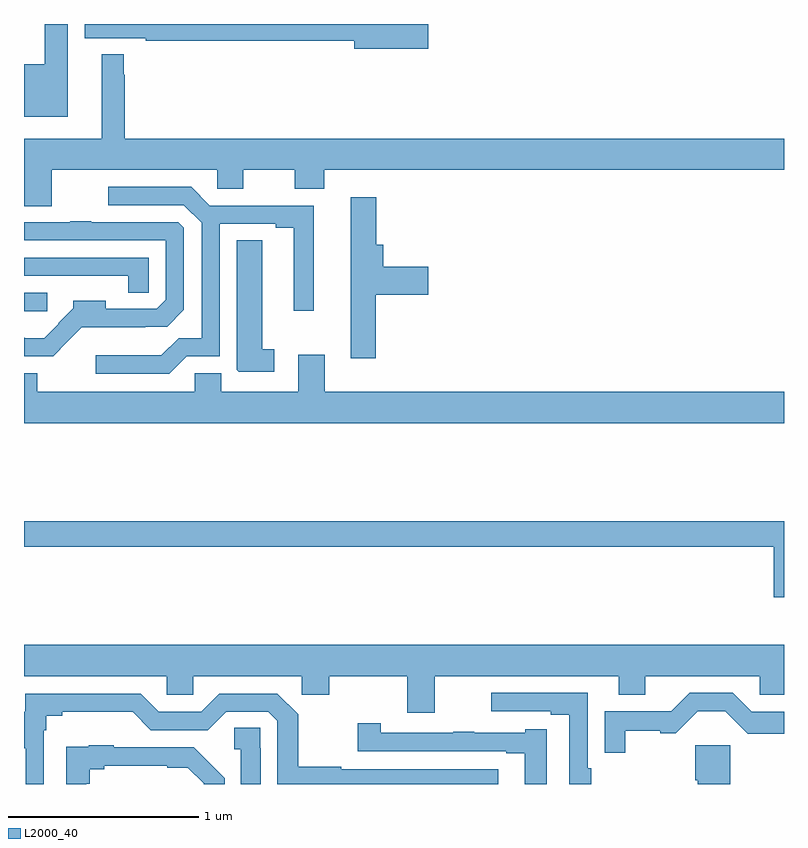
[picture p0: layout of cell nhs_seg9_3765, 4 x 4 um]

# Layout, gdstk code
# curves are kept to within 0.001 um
import gdstk
lib = gdstk.Library(unit=1e-6, precision=1e-09)
def R(c, l, rs):  # rectangles x0, y0, x1, y1
    for r in rs: c.add(gdstk.rectangle(r[:2], r[2:], *l))
def P(c, l, *ps):  # polygons
    for p in ps: c.add(gdstk.Polygon(p, *l))
L2000_40 = (2000, 40)

nhs_seg9_3765 = lib.new_cell('nhs_seg9_3765')
R(nhs_seg9_3765, L2000_40, [(325,1216.989,325.122,1217.085)])
P(nhs_seg9_3765, L2000_40, [(327.127,1218.5),(325.319,1218.5),(325.319,1218.425),(325.642,1218.425),(325.642,1218.412),(326.738,1218.412),(326.738,1218.37),(327.127,1218.37)],
  [(325.231,1218.5),(325.11,1218.5),(325.11,1218.287),(325,1218.287),(325,1218.011),(325.231,1218.011)],
  [(325.147,1217.732),(326.016,1217.732),(326.016,1217.634),(326.155,1217.634),(326.155,1217.732),(326.426,1217.732),(326.426,1217.633),(326.579,1217.633),(326.579,1217.732),(329,1217.732),(329,1217.896),(325.531,1217.896),(325.531,1218.233),(325.524,1218.233),(325.524,1218.34),(325.409,1218.34),(325.409,1217.896),(325,1217.896),(325,1217.542),(325.147,1217.542)],
  [(325.857,1216.752),(326.031,1216.752),(326.031,1217.448),(326.324,1217.448),(326.324,1217.428),(326.42,1217.428),(326.42,1216.992),(326.524,1216.992),(326.524,1217.544),(325.978,1217.544),(325.879,1217.643),(325.443,1217.643),(325.443,1217.547),(325.842,1217.547),(325.935,1217.454),(325.935,1216.847),(325.814,1216.847),(325.723,1216.756),(325.377,1216.756),(325.377,1216.659),(325.764,1216.659)],
  [(326.852,1217.075),(327.127,1217.075),(327.127,1217.222),(326.891,1217.222),(326.891,1217.338),(326.855,1217.338),(326.855,1217.587),(326.72,1217.587),(326.72,1216.74),(326.852,1216.74)],
  [(325.231,1216.829),(325.229,1216.831),(325.303,1216.905),(325.637,1216.904),(325.637,1216.906),(325.753,1216.906),(325.842,1216.995),(325.842,1217.427),(325.812,1217.457),(325.355,1217.457),(325.355,1217.462),(325.243,1217.462),(325.243,1217.457),(325,1217.457),(325,1217.361),(325.746,1217.361),(325.746,1217.049),(325.698,1217.001),(325.429,1217.001),(325.429,1217.044),(325.258,1217.044),(325.258,1217.005),(325.179,1216.926),(325.182,1216.923),(325.106,1216.847),(325.004,1216.847),(325.004,1216.849),(325,1216.849),(325,1216.752),(325.155,1216.752)],
  [(326.317,1216.787),(326.254,1216.787),(326.254,1217.363),(326.12,1217.363),(326.12,1216.681),(326.13,1216.671),(326.317,1216.671)],
  [(325.656,1217.271),(325,1217.271),(325,1217.175),(325.293,1217.175),(325.293,1217.174),(325.548,1217.174),(325.548,1217.086),(325.656,1217.086)],
  [(329,1216.564),(326.584,1216.564),(326.584,1216.759),(326.444,1216.759),(326.444,1216.564),(326.038,1216.564),(326.038,1216.662),(325.899,1216.662),(325.899,1216.564),(325.071,1216.564),(325.071,1216.663),(325,1216.663),(325,1216.4),(329,1216.4)],
  [(329,1215.884),(325,1215.884),(325,1215.748),(328.946,1215.748),(328.946,1215.483),(329,1215.483)],
  [(327.163,1215.068),(328.13,1215.068),(328.13,1214.969),(328.27,1214.969),(328.27,1215.068),(328.872,1215.068),(328.872,1214.97),(329,1214.97),(329,1215.232),(325,1215.232),(325,1215.068),(325.752,1215.068),(325.752,1214.97),(325.89,1214.97),(325.89,1215.068),(326.461,1215.068),(326.461,1214.97),(326.607,1214.97),(326.607,1215.068),(327.016,1215.068),(327.016,1214.874),(327.163,1214.874)],
  [(327.986,1214.584),(327.966,1214.584),(327.966,1214.979),(327.459,1214.979),(327.459,1214.883),(327.773,1214.883),(327.773,1214.865),(327.87,1214.865),(327.87,1214.5),(327.986,1214.5)],
  [(328.165,1214.779),(328.349,1214.779),(328.349,1214.767),(328.43,1214.767),(328.545,1214.882),(328.69,1214.882),(328.808,1214.764),(329,1214.764),(329,1214.88),(328.83,1214.88),(328.731,1214.979),(328.503,1214.979),(328.406,1214.882),(328.056,1214.882),(328.056,1214.664),(328.165,1214.664)],
  [(325.104,1214.783),(325.117,1214.783),(325.117,1214.86),(325.201,1214.86),(325.201,1214.879),(325.573,1214.879),(325.668,1214.784),(325.968,1214.784),(326.064,1214.88),(326.286,1214.88),(326.334,1214.832),(326.334,1214.5),(327.496,1214.5),(327.496,1214.577),(326.669,1214.577),(326.669,1214.59),(326.443,1214.59),(326.443,1214.867),(326.334,1214.976),(326.028,1214.976),(325.932,1214.88),(325.71,1214.88),(325.614,1214.976),(325.006,1214.976),(325.006,1214.88),(325,1214.88),(325,1214.687),(325.008,1214.687),(325.008,1214.5),(325.104,1214.5)],
  [(327.751,1214.788),(327.639,1214.788),(327.639,1214.769),(327.371,1214.769),(327.371,1214.774),(327.259,1214.774),(327.259,1214.769),(326.877,1214.769),(326.877,1214.821),(326.757,1214.821),(326.757,1214.673),(327.539,1214.673),(327.539,1214.661),(327.635,1214.661),(327.635,1214.5),(327.751,1214.5)],
  [(326.245,1214.687),(326.244,1214.687),(326.244,1214.795),(326.106,1214.795),(326.106,1214.684),(326.141,1214.684),(326.141,1214.5),(326.245,1214.5)],
  [(328.717,1214.704),(328.532,1214.704),(328.532,1214.52),(328.547,1214.52),(328.547,1214.5),(328.717,1214.5)],
  [(325.327,1214.501),(325.345,1214.501),(325.345,1214.578),(325.423,1214.578),(325.423,1214.597),(325.754,1214.597),(325.754,1214.586),(325.863,1214.586),(325.947,1214.503),(325.947,1214.5),(326.056,1214.5),(326.056,1214.531),(325.972,1214.614),(325.973,1214.615),(325.894,1214.694),(325.473,1214.694),(325.473,1214.704),(325.341,1214.704),(325.341,1214.696),(325.223,1214.696),(325.223,1214.5)])

lib.write_gds('nhs_seg9_3765.gds')
